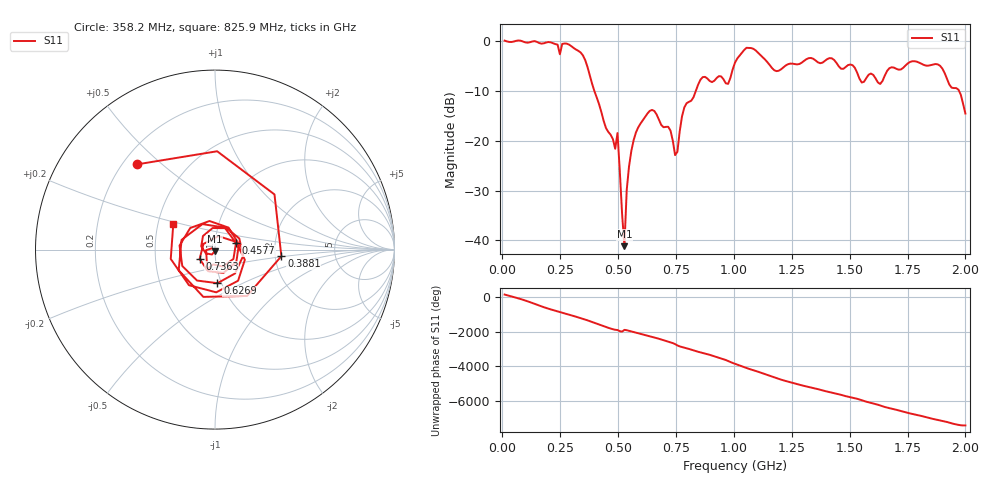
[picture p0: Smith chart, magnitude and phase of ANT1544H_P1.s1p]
!Created with skrf (http://scikit-rf.org).
# Hz S RI R 50.0
!freq ReS11 ImS11
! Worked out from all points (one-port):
!   201 points, 10 MHz to 2 GHz, reference 50 ohm
!   lowest |S11| = -41.2 dB at 527.4 MHz (marker M1), VSWR 1.02, Z = 49.8 - j0.855 ohm
!   |S11| at or under -10 dB: 397.6 MHz to 836 MHz (438.4 MHz wide, 71.1 % of centre); 1.973 GHz to end of sweep
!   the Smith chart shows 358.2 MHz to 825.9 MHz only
!   S11 on the Smith chart (normalised r, x): 358.2 MHz: 0.26, +0.42; 388.1 MHz: 2.16, -0.18; 457.8 MHz: 1.26, +0.09; 626.9 MHz: 0.96, -0.37; 736.4 MHz: 0.84, -0.09; 825.9 MHz: 0.60, +0.19
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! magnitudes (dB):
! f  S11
! 10 MHz  0.1
! 258.8 MHz  -0.6
! 358.2 MHz  -3.8
! 388.1 MHz  -8.6
! 457.8 MHz  -18.2
! 487.6 MHz  -21.6
! 497.6 MHz  -18.5
! 507.5 MHz  -26.1
! 527.4 MHz  -41.2
! 537.4 MHz  -29.9
! 557.2 MHz  -22.1
! 626.9 MHz  -14.5
! 736.4 MHz  -20.0
! 756.2 MHz  -22.2
! 786.1 MHz  -13.3
! 825.9 MHz  -11.3
! 865.7 MHz  -7.2
! 975.1 MHz  -8.6
! 1.005 GHz  -4.3
! 1.055 GHz  -1.3
! 1.184 GHz  -6.0
! 1.254 GHz  -4.5
! 1.502 GHz  -4.7
! 1.632 GHz  -8.6
! 1.751 GHz  -4.5
! 1.891 GHz  -4.9
! 1.97 GHz  -9.8
! 2 GHz  -14.5
